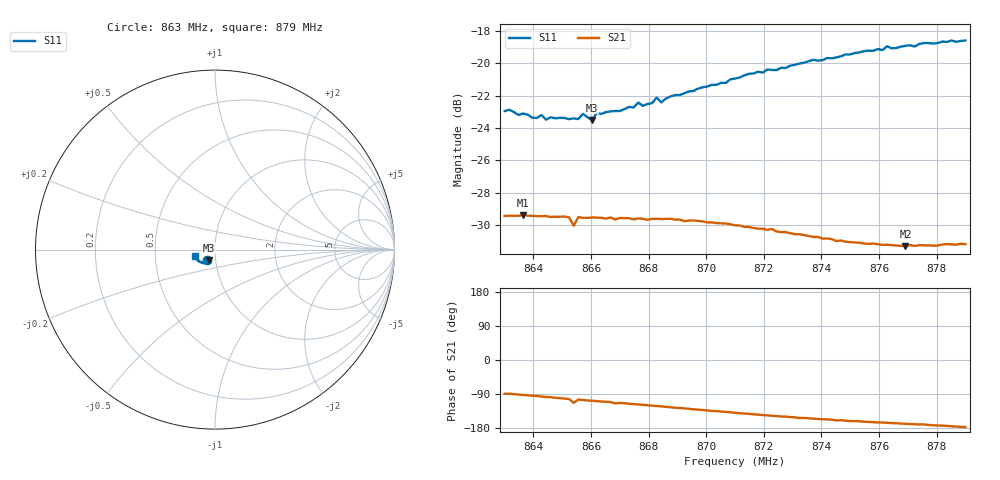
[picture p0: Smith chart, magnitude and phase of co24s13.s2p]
# HZ S RI R 50
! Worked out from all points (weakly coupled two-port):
!   101 points, 863 MHz to 879 MHz, reference 50 ohm
!   highest |S21| = -29.40 dB at 863.64 MHz (marker M1); lowest = -31.3 dB at 876.92 MHz (marker M2)
!   lowest |S11| = -23.5 dB at 866.04 MHz (marker M3), VSWR 1.14, Z = 46.5 - j5.44 ohm
!   |S11| at or under -10 dB: start of sweep to end of sweep
!   S12 and S22 are empty: the file has one direction only
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8.63e8  -0.0438 -0.056  0.000559 -0.0337  0 0  0 0
8.6364e8  -0.0416 -0.0562  -0.00137 -0.0339  0 0  0 0
8.6396e8  -0.0391 -0.0554  -0.00248 -0.0336  0 0  0 0
8.6428e8  -0.0389 -0.0572  -0.00368 -0.0335  0 0  0 0
8.6444e8  -0.0384 -0.0548  -0.00448 -0.0334  0 0  0 0
8.6524e8  -0.036 -0.0567  -0.00751 -0.0325  0 0  0 0
8.654e8  -0.0353 -0.0576  -0.0123 -0.0289  0 0  0 0
8.6556e8  -0.0363 -0.0566  -0.00823 -0.0324  0 0  0 0
8.6572e8  -0.0362 -0.0596  -0.00894 -0.032  0 0  0 0
8.6604e8  -0.0328 -0.0582  -0.00995 -0.0318  0 0  0 0
8.662e8  -0.0362 -0.06  -0.0106 -0.0316  0 0  0 0
8.67e8  -0.0344 -0.0623  -0.0131 -0.0305  0 0  0 0
8.6764e8  -0.0374 -0.0656  -0.0152 -0.0294  0 0  0 0
8.678e8  -0.0356 -0.0647  -0.0157 -0.0291  0 0  0 0
8.6828e8  -0.0377 -0.0686  -0.0172 -0.0282  0 0  0 0
8.6844e8  -0.0371 -0.066  -0.0176 -0.0279  0 0  0 0
8.6876e8  -0.038 -0.0692  -0.0188 -0.0272  0 0  0 0
8.71e8  -0.0501 -0.0743  -0.0239 -0.0206  0 0  0 0
8.7372e8  -0.0702 -0.0747  -0.0263 -0.0124  0 0  0 0
8.7644e8  -0.0935 -0.0601  -0.0266 -0.00635  0 0  0 0
8.7692e8  -0.0985 -0.0558  -0.0266 -0.00554  0 0  0 0
8.79e8  -0.1116 -0.0371  -0.0275 -0.00143  0 0  0 0
